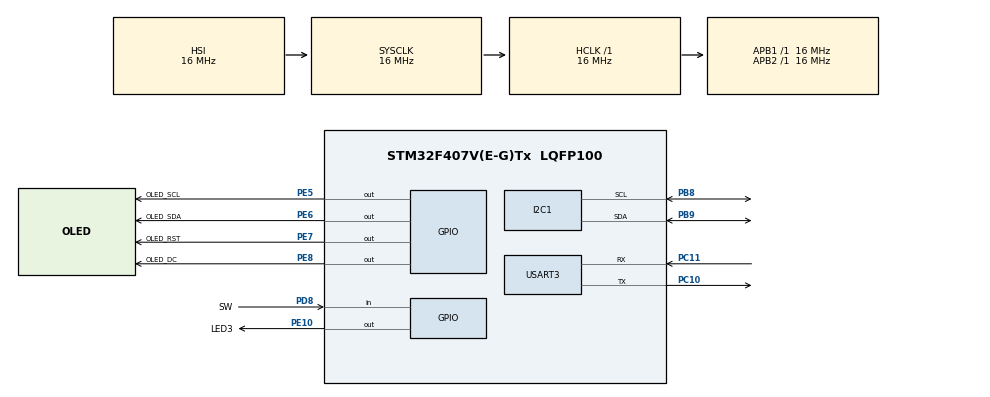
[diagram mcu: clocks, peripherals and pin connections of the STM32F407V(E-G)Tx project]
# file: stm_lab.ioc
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Mcu.Family=STM32F4
Mcu.Name=STM32F407V(E-G)Tx
Mcu.Package=LQFP100
NVIC.PriorityGroup=NVIC_PRIORITYGROUP_4
NVIC.USART3_IRQn=true\:0\:0\:false\:false\:true\:true\:true\:true
PB8.Mode=I2C
PB8.Signal=I2C1_SCL
PB9.Mode=I2C
PB9.Signal=I2C1_SDA
PC10.Mode=Asynchronous
PC10.Signal=USART3_TX
PC11.Mode=Asynchronous
PC11.Signal=USART3_RX
PD8.GPIO_Label=SW
PD8.Signal=GPIO_Input
PE10.GPIO_Label=LED3
PE10.Signal=GPIO_Output
PE5.GPIO_Label=OLED_SCL
PE5.Signal=GPIO_Output
PE6.GPIO_Label=OLED_SDA
PE6.Signal=GPIO_Output
PE7.GPIO_Label=OLED_RST
PE7.Signal=GPIO_Output
PE8.GPIO_Label=OLED_DC
PE8.Signal=GPIO_Output
ProjectManager.HeapSize=0x200
ProjectManager.StackSize=0x400
ProjectManager.TargetToolchain=STM32CubeIDE
RCC.AHBFreq_Value=16000000
RCC.APB1Freq_Value=16000000
RCC.APB2Freq_Value=16000000
RCC.CortexFreq_Value=16000000
RCC.HSE_VALUE=25000000
RCC.HSI_VALUE=16000000
RCC.LSE_VALUE=32768
RCC.SYSCLKFreq_VALUE=16000000
RCC.VCOOutputFreq_Value=192000000
TIM1.Channel-PWM\ Generation4\ No\ Output=TIM_CHANNEL_4
TIM1.Period=1000
TIM1.Prescaler=160
TIM8.Channel-PWM\ Generation1\ No\ Output=TIM_CHANNEL_1
TIM8.Channel-PWM\ Generation2\ No\ Output=TIM_CHANNEL_2
TIM8.Period=7199
USART3.VirtualMode=VM_ASYNC
VP_TIM1_VS_ClockSourceINT.Mode=Internal
VP_TIM1_VS_no_output4.Mode=PWM Generation4 No Output
VP_TIM8_VS_ClockSourceINT.Mode=Internal
VP_TIM8_VS_no_output1.Mode=PWM Generation1 No Output
VP_TIM8_VS_no_output2.Mode=PWM Generation2 No Output
board=custom

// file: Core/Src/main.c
/* USER CODE BEGIN Header */
/**
  ******************************************************************************
  * @file           : main.c
  * @brief          : Main program body
  ******************************************************************************
  * @attention
  *
  * Copyright (c) 2022 STMicroelectronics.
  * All rights reserved.
  *
  * This software is licensed under terms that can be found in the LICENSE file
  * in the root directory of this software component.
  * If no LICENSE file comes with this software, it is provided AS-IS.
  *
  ******************************************************************************
  */
/* USER CODE END Header */
#include "main.h"

/* USER CODE BEGIN Includes */
#include "ICM20948.h"
#include "stdio.h"
#include "math.h"
/* USER CODE END Includes */

I2C_HandleTypeDef hi2c1;

TIM_HandleTypeDef htim1;
TIM_HandleTypeDef htim8;

UART_HandleTypeDef huart3;

/* USER CODE BEGIN PV */
ICM20948 imu;
/* USER CODE END PV */

void SystemClock_Config(void);
static void MX_GPIO_Init(void);
static void MX_TIM8_Init(void);
static void MX_TIM1_Init(void);
static void MX_USART3_UART_Init(void);
static void MX_I2C1_Init(void);

int main(void)
{

  /* MCU Configuration--------------------------------------------------------*/

  /* Reset of all peripherals, Initializes the Flash interface and the Systick. */
  HAL_Init();

  /* Configure the system clock */
  SystemClock_Config();

  /* Initialize all configured peripherals */
  MX_GPIO_Init();
  MX_TIM8_Init();
  MX_TIM1_Init();
  MX_USART3_UART_Init();
  MX_I2C1_Init();
  /* USER CODE BEGIN 2 */
  uint8_t* status = IMU_Initialise(&imu, &hi2c1, &huart3);
  float gyro_pitch = 0, gyro_roll = 0, gyro_yaw = 0;
  float acc_pitch = 0, acc_roll = 0, acc_yaw = 0;
  float prev_pitch = 0, prev_roll = 0;
  float pitch, roll, yaw;
  float alpha = 0.1;

  if (status != 0) {
	  // not 0
	  return -1;
  }
//  Gyro_calibrate(&imu);

  char sbuf[10], dispBuff[20];
  /* USER CODE END 2 */
  sprintf(dispBuff, "Calibr Gyro..");	// Prints current heading angle (x1000)
  OLED_ShowString(10,30,dispBuff);
  OLED_Refresh_Gram();
  HAL_Delay(1000);
  Gyro_calibrate2(&imu, 10, &huart3);	// Sample gyro data every 21ms for 1024 samples and use as offset
//  HAL_Delay(1000);
  /* Infinite loop */
  while (1)
  {

    /* USER CODE BEGIN 3 */
	  HAL_GPIO_TogglePin(LED3_GPIO_Port, LED3_Pin);
	  IMU_AccelRead(&imu);
	  IMU_GyroRead2(&imu, &huart3);

	  sprintf(sbuf, "%7.2f ", imu.gyro[0]);
	  HAL_UART_Transmit(&huart3, (uint8_t *)sbuf, 8, HAL_MAX_DELAY);
	  sprintf(sbuf, "%7.2f ", imu.gyro[1]);
	  HAL_UART_Transmit(&huart3, (uint8_t *)sbuf, 8, HAL_MAX_DELAY);
	  sprintf(sbuf, "%7.2f ", imu.gyro[2]);
	  HAL_UART_Transmit(&huart3, (uint8_t *)sbuf, 8, HAL_MAX_DELAY);

	  sprintf(sbuf, "%7.2f ", imu.acc[0]);
	  HAL_UART_Transmit(&huart3, (uint8_t *)sbuf, 8, HAL_MAX_DELAY);
	  sprintf(sbuf, "%7.2f ", imu.acc[1]);
	  HAL_UART_Transmit(&huart3, (uint8_t *)sbuf, 8, HAL_MAX_DELAY);
	  sprintf(sbuf, "%7.2f ", imu.acc[2]);
	  HAL_UART_Transmit(&huart3, (uint8_t *)sbuf, 8, HAL_MAX_DELAY);

	  gyro_pitch = gyro_pitch - imu.gyro[0];
	  gyro_roll = gyro_roll - imu.gyro[1];
	  gyro_yaw = gyro_yaw + imu.gyro[2];

	  acc_pitch = atan2(imu.acc[1], sqrt(imu.acc[0]*imu.acc[0] + imu.acc[2]*imu.acc[2])) / M_PI * 180.0;
	  acc_roll = - atan2(imu.acc[0], sqrt(imu.acc[1]*imu.acc[1] + imu.acc[2]*imu.acc[2])) / M_PI * 180.0;

	  pitch = (1.0 - alpha)*acc_pitch + alpha*(prev_pitch + imu.gyro[0]);
	  prev_pitch = pitch;

	  roll = (1.0 - alpha)*acc_roll + alpha*(prev_pitch + imu.gyro[1]);
	  prev_roll = roll;

	  yaw = yaw + cos(roll * M_PI / 180.0) * imu.gyro[2];
//
	  sprintf(sbuf, "%7.2f ", gyro_pitch);
	  HAL_UART_Transmit(&huart3, (uint8_t *)sbuf, 8, HAL_MAX_DELAY);
	  sprintf(sbuf, "%7.2f ", gyro_roll);
	  HAL_UART_Transmit(&huart3, (uint8_t *)sbuf, 8, HAL_MAX_DELAY);
	  sprintf(sbuf, "%7.2f ", gyro_yaw);
	  HAL_UART_Transmit(&huart3, (uint8_t *)sbuf, 8, HAL_MAX_DELAY);

	  sprintf(sbuf, "%7.2f ", acc_pitch);
	  HAL_UART_Transmit(&huart3, (uint8_t *)sbuf, 8, HAL_MAX_DELAY);
	  sprintf(sbuf, "%7.2f ", acc_roll);
	  HAL_UART_Transmit(&huart3, (uint8_t *)sbuf, 8, HAL_MAX_DELAY);

	  sprintf(sbuf, "%7.2f ", pitch);
	  HAL_UART_Transmit(&huart3, (uint8_t *)sbuf, 8, HAL_MAX_DELAY);
	  sprintf(sbuf, "%7.2f ", roll);
	  HAL_UART_Transmit(&huart3, (uint8_t *)sbuf, 8, HAL_MAX_DELAY);
	  sprintf(sbuf, "%7.2f ", yaw);
	  HAL_UART_Transmit(&huart3, (uint8_t *)sbuf, 8, HAL_MAX_DELAY);

	  HAL_UART_Transmit(&huart3, (uint8_t *)"\r\n", 2, HAL_MAX_DELAY);
	  HAL_Delay(10);
  }
  /* USER CODE END 3 */
}

void SystemClock_Config(void)
{
  RCC_OscInitTypeDef RCC_OscInitStruct = {0};
  RCC_ClkInitTypeDef RCC_ClkInitStruct = {0};

  /** Configure the main internal regulator output voltage
  */
  __HAL_RCC_PWR_CLK_ENABLE();
  __HAL_PWR_VOLTAGESCALING_CONFIG(PWR_REGULATOR_VOLTAGE_SCALE1);
  /** Initializes the RCC Oscillators according to the specified parameters
  * in the RCC_OscInitTypeDef structure.
  */
  RCC_OscInitStruct.OscillatorType = RCC_OSCILLATORTYPE_HSI;
  RCC_OscInitStruct.HSIState = RCC_HSI_ON;
  RCC_OscInitStruct.HSICalibrationValue = RCC_HSICALIBRATION_DEFAULT;
  RCC_OscInitStruct.PLL.PLLState = RCC_PLL_NONE;
  if (HAL_RCC_OscConfig(&RCC_OscInitStruct) != HAL_OK)
  {
    Error_Handler();
  }
  /** Initializes the CPU, AHB and APB buses clocks
  */
  RCC_ClkInitStruct.ClockType = RCC_CLOCKTYPE_HCLK|RCC_CLOCKTYPE_SYSCLK
                              |RCC_CLOCKTYPE_PCLK1|RCC_CLOCKTYPE_PCLK2;
  RCC_ClkInitStruct.SYSCLKSource = RCC_SYSCLKSOURCE_HSI;
  RCC_ClkInitStruct.AHBCLKDivider = RCC_SYSCLK_DIV1;
  RCC_ClkInitStruct.APB1CLKDivider = RCC_HCLK_DIV1;
  RCC_ClkInitStruct.APB2CLKDivider = RCC_HCLK_DIV1;

  if (HAL_RCC_ClockConfig(&RCC_ClkInitStruct, FLASH_LATENCY_0) != HAL_OK)
  {
    Error_Handler();
  }
}

static void MX_I2C1_Init(void)
{

  hi2c1.Instance = I2C1;
  hi2c1.Init.ClockSpeed = 100000;
  hi2c1.Init.DutyCycle = I2C_DUTYCYCLE_2;
  hi2c1.Init.OwnAddress1 = 0;
  hi2c1.Init.AddressingMode = I2C_ADDRESSINGMODE_7BIT;
  hi2c1.Init.DualAddressMode = I2C_DUALADDRESS_DISABLE;
  hi2c1.Init.OwnAddress2 = 0;
  hi2c1.Init.GeneralCallMode = I2C_GENERALCALL_DISABLE;
  hi2c1.Init.NoStretchMode = I2C_NOSTRETCH_DISABLE;
  if (HAL_I2C_Init(&hi2c1) != HAL_OK)
  {
    Error_Handler();
  }

}

static void MX_TIM1_Init(void)
{

  TIM_ClockConfigTypeDef sClockSourceConfig = {0};
  TIM_MasterConfigTypeDef sMasterConfig = {0};
  TIM_OC_InitTypeDef sConfigOC = {0};
  TIM_BreakDeadTimeConfigTypeDef sBreakDeadTimeConfig = {0};

  htim1.Instance = TIM1;
  htim1.Init.Prescaler = 160;
  htim1.Init.CounterMode = TIM_COUNTERMODE_UP;
  htim1.Init.Period = 1000;
  htim1.Init.ClockDivision = TIM_CLOCKDIVISION_DIV1;
  htim1.Init.RepetitionCounter = 0;
  htim1.Init.AutoReloadPreload = TIM_AUTORELOAD_PRELOAD_DISABLE;
  if (HAL_TIM_Base_Init(&htim1) != HAL_OK)
  {
    Error_Handler();
  }
  sClockSourceConfig.ClockSource = TIM_CLOCKSOURCE_INTERNAL;
  if (HAL_TIM_ConfigClockSource(&htim1, &sClockSourceConfig) != HAL_OK)
  {
    Error_Handler();
  }
  if (HAL_TIM_PWM_Init(&htim1) != HAL_OK)
  {
    Error_Handler();
  }
  sMasterConfig.MasterOutputTrigger = TIM_TRGO_RESET;
  sMasterConfig.MasterSlaveMode = TIM_MASTERSLAVEMODE_DISABLE;
  if (HAL_TIMEx_MasterConfigSynchronization(&htim1, &sMasterConfig) != HAL_OK)
  {
    Error_Handler();
  }
  sConfigOC.OCMode = TIM_OCMODE_PWM1;
  sConfigOC.Pulse = 0;
  sConfigOC.OCPolarity = TIM_OCPOLARITY_HIGH;
  sConfigOC.OCFastMode = TIM_OCFAST_DISABLE;
  sConfigOC.OCIdleState = TIM_OCIDLESTATE_RESET;
  sConfigOC.OCNIdleState = TIM_OCNIDLESTATE_RESET;
  if (HAL_TIM_PWM_ConfigChannel(&htim1, &sConfigOC, TIM_CHANNEL_4) != HAL_OK)
  {
    Error_Handler();
  }
  sBreakDeadTimeConfig.OffStateRunMode = TIM_OSSR_DISABLE;
  sBreakDeadTimeConfig.OffStateIDLEMode = TIM_OSSI_DISABLE;
  sBreakDeadTimeConfig.LockLevel = TIM_LOCKLEVEL_OFF;
  sBreakDeadTimeConfig.DeadTime = 0;
  sBreakDeadTimeConfig.BreakState = TIM_BREAK_DISABLE;
  sBreakDeadTimeConfig.BreakPolarity = TIM_BREAKPOLARITY_HIGH;
  sBreakDeadTimeConfig.AutomaticOutput = TIM_AUTOMATICOUTPUT_DISABLE;
  if (HAL_TIMEx_ConfigBreakDeadTime(&htim1, &sBreakDeadTimeConfig) != HAL_OK)
  {
    Error_Handler();
  }

}

static void MX_TIM8_Init(void)
{

  TIM_ClockConfigTypeDef sClockSourceConfig = {0};
  TIM_MasterConfigTypeDef sMasterConfig = {0};
  TIM_OC_InitTypeDef sConfigOC = {0};
  TIM_BreakDeadTimeConfigTypeDef sBreakDeadTimeConfig = {0};

  htim8.Instance = TIM8;
  htim8.Init.Prescaler = 0;
  htim8.Init.CounterMode = TIM_COUNTERMODE_UP;
  htim8.Init.Period = 7199;
  htim8.Init.ClockDivision = TIM_CLOCKDIVISION_DIV1;
  htim8.Init.RepetitionCounter = 0;
  htim8.Init.AutoReloadPreload = TIM_AUTORELOAD_PRELOAD_DISABLE;
  if (HAL_TIM_Base_Init(&htim8) != HAL_OK)
  {
    Error_Handler();
  }
  sClockSourceConfig.ClockSource = TIM_CLOCKSOURCE_INTERNAL;
  if (HAL_TIM_ConfigClockSource(&htim8, &sClockSourceConfig) != HAL_OK)
  {
    Error_Handler();
  }
  if (HAL_TIM_PWM_Init(&htim8) != HAL_OK)
  {
    Error_Handler();
  }
  sMasterConfig.MasterOutputTrigger = TIM_TRGO_RESET;
  sMasterConfig.MasterSlaveMode = TIM_MASTERSLAVEMODE_DISABLE;
  if (HAL_TIMEx_MasterConfigSynchronization(&htim8, &sMasterConfig) != HAL_OK)
  {
    Error_Handler();
  }
  sConfigOC.OCMode = TIM_OCMODE_PWM1;
  sConfigOC.Pulse = 0;
  sConfigOC.OCPolarity = TIM_OCPOLARITY_HIGH;
  sConfigOC.OCNPolarity = TIM_OCNPOLARITY_HIGH;
  sConfigOC.OCFastMode = TIM_OCFAST_DISABLE;
  sConfigOC.OCIdleState = TIM_OCIDLESTATE_RESET;
  sConfigOC.OCNIdleState = TIM_OCNIDLESTATE_RESET;
  if (HAL_TIM_PWM_ConfigChannel(&htim8, &sConfigOC, TIM_CHANNEL_1) != HAL_OK)
  {
    Error_Handler();
  }
  if (HAL_TIM_PWM_ConfigChannel(&htim8, &sConfigOC, TIM_CHANNEL_2) != HAL_OK)
  {
    Error_Handler();
  }
  sBreakDeadTimeConfig.OffStateRunMode = TIM_OSSR_DISABLE;
  sBreakDeadTimeConfig.OffStateIDLEMode = TIM_OSSI_DISABLE;
  sBreakDeadTimeConfig.LockLevel = TIM_LOCKLEVEL_OFF;
  sBreakDeadTimeConfig.DeadTime = 0;
  sBreakDeadTimeConfig.BreakState = TIM_BREAK_DISABLE;
  sBreakDeadTimeConfig.BreakPolarity = TIM_BREAKPOLARITY_HIGH;
  sBreakDeadTimeConfig.AutomaticOutput = TIM_AUTOMATICOUTPUT_DISABLE;
  if (HAL_TIMEx_ConfigBreakDeadTime(&htim8, &sBreakDeadTimeConfig) != HAL_OK)
  {
    Error_Handler();
  }

}

static void MX_USART3_UART_Init(void)
{

  huart3.Instance = USART3;
  huart3.Init.BaudRate = 115200;
  huart3.Init.WordLength = UART_WORDLENGTH_8B;
  huart3.Init.StopBits = UART_STOPBITS_1;
  huart3.Init.Parity = UART_PARITY_NONE;
  huart3.Init.Mode = UART_MODE_TX_RX;
  huart3.Init.HwFlowCtl = UART_HWCONTROL_NONE;
  huart3.Init.OverSampling = UART_OVERSAMPLING_16;
  if (HAL_UART_Init(&huart3) != HAL_OK)
  {
    Error_Handler();
  }

}

static void MX_GPIO_Init(void)
{
  GPIO_InitTypeDef GPIO_InitStruct = {0};

  /* GPIO Ports Clock Enable */
  __HAL_RCC_GPIOE_CLK_ENABLE();
  __HAL_RCC_GPIOD_CLK_ENABLE();
  __HAL_RCC_GPIOC_CLK_ENABLE();
  __HAL_RCC_GPIOB_CLK_ENABLE();

  /*Configure GPIO pin Output Level */
  HAL_GPIO_WritePin(GPIOE, OLED_SCL_Pin|OLED_SDA_Pin|OLED_RST_Pin|OLED_DC_Pin
                          |LED3_Pin, GPIO_PIN_RESET);

  /*Configure GPIO pins : OLED_SCL_Pin OLED_SDA_Pin OLED_RST_Pin OLED_DC_Pin
                           LED3_Pin */
  GPIO_InitStruct.Pin = OLED_SCL_Pin|OLED_SDA_Pin|OLED_RST_Pin|OLED_DC_Pin
                          |LED3_Pin;
  GPIO_InitStruct.Mode = GPIO_MODE_OUTPUT_PP;
  GPIO_InitStruct.Pull = GPIO_NOPULL;
  GPIO_InitStruct.Speed = GPIO_SPEED_FREQ_LOW;
  HAL_GPIO_Init(GPIOE, &GPIO_InitStruct);

  /*Configure GPIO pin : SW_Pin */
  GPIO_InitStruct.Pin = SW_Pin;
  GPIO_InitStruct.Mode = GPIO_MODE_INPUT;
  GPIO_InitStruct.Pull = GPIO_NOPULL;
  HAL_GPIO_Init(SW_GPIO_Port, &GPIO_InitStruct);

}

void Error_Handler(void)
{
  __disable_irq();
  while (1)
  {
  }
}
